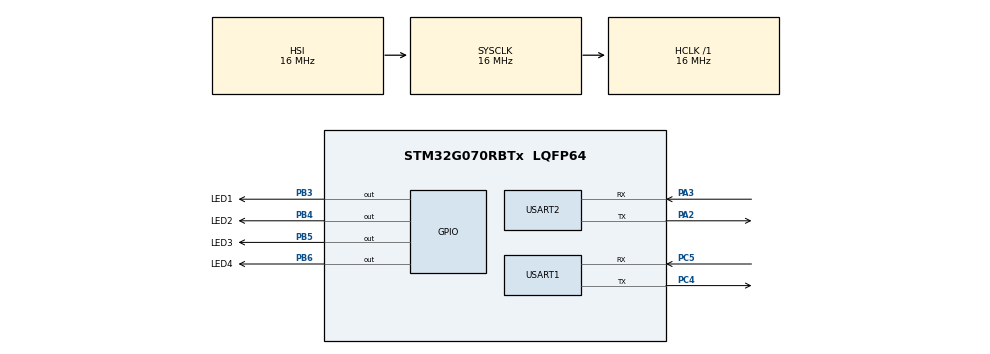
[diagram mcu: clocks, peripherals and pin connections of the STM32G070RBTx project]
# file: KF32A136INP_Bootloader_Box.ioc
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Dma.Request0=USART1_RX
Dma.Request1=USART2_RX
Dma.Request2=USART1_TX
Dma.Request3=USART2_TX
Dma.USART1_RX.0.Direction=DMA_PERIPH_TO_MEMORY
Dma.USART1_RX.0.EventEnable=DISABLE
Dma.USART1_RX.0.Instance=DMA1_Channel1
Dma.USART1_RX.0.MemDataAlignment=DMA_MDATAALIGN_BYTE
Dma.USART1_RX.0.MemInc=DMA_MINC_ENABLE
Dma.USART1_RX.0.Mode=DMA_NORMAL
Dma.USART1_RX.0.PeriphDataAlignment=DMA_PDATAALIGN_BYTE
Dma.USART1_RX.0.PeriphInc=DMA_PINC_DISABLE
Dma.USART1_RX.0.Polarity=HAL_DMAMUX_REQ_GEN_RISING
Dma.USART1_RX.0.Priority=DMA_PRIORITY_LOW
Dma.USART1_RX.0.RequestNumber=1
Dma.USART1_RX.0.SignalID=NONE
Dma.USART1_RX.0.SyncEnable=DISABLE
Dma.USART1_RX.0.SyncPolarity=HAL_DMAMUX_SYNC_NO_EVENT
Dma.USART1_RX.0.SyncRequestNumber=1
Dma.USART1_RX.0.SyncSignalID=NONE
Dma.USART1_TX.2.Direction=DMA_MEMORY_TO_PERIPH
Dma.USART1_TX.2.EventEnable=DISABLE
Dma.USART1_TX.2.Instance=DMA1_Channel3
Dma.USART1_TX.2.MemDataAlignment=DMA_MDATAALIGN_BYTE
Dma.USART1_TX.2.MemInc=DMA_MINC_ENABLE
Dma.USART1_TX.2.Mode=DMA_NORMAL
Dma.USART1_TX.2.PeriphDataAlignment=DMA_PDATAALIGN_BYTE
Dma.USART1_TX.2.PeriphInc=DMA_PINC_DISABLE
Dma.USART1_TX.2.Polarity=HAL_DMAMUX_REQ_GEN_RISING
Dma.USART1_TX.2.Priority=DMA_PRIORITY_LOW
Dma.USART1_TX.2.RequestNumber=1
Dma.USART1_TX.2.SignalID=NONE
Dma.USART1_TX.2.SyncEnable=DISABLE
Dma.USART1_TX.2.SyncPolarity=HAL_DMAMUX_SYNC_NO_EVENT
Dma.USART1_TX.2.SyncRequestNumber=1
Dma.USART1_TX.2.SyncSignalID=NONE
Dma.USART2_RX.1.Direction=DMA_PERIPH_TO_MEMORY
Dma.USART2_RX.1.EventEnable=DISABLE
Dma.USART2_RX.1.Instance=DMA1_Channel2
Dma.USART2_RX.1.MemDataAlignment=DMA_MDATAALIGN_BYTE
Dma.USART2_RX.1.MemInc=DMA_MINC_ENABLE
Dma.USART2_RX.1.Mode=DMA_NORMAL
Dma.USART2_RX.1.PeriphDataAlignment=DMA_PDATAALIGN_BYTE
Dma.USART2_RX.1.PeriphInc=DMA_PINC_DISABLE
Dma.USART2_RX.1.Polarity=HAL_DMAMUX_REQ_GEN_RISING
Dma.USART2_RX.1.Priority=DMA_PRIORITY_LOW
Dma.USART2_RX.1.RequestNumber=1
Dma.USART2_RX.1.SignalID=NONE
Dma.USART2_RX.1.SyncEnable=DISABLE
Dma.USART2_RX.1.SyncPolarity=HAL_DMAMUX_SYNC_NO_EVENT
Dma.USART2_RX.1.SyncRequestNumber=1
Dma.USART2_RX.1.SyncSignalID=NONE
Dma.USART2_TX.3.Direction=DMA_MEMORY_TO_PERIPH
Dma.USART2_TX.3.EventEnable=DISABLE
Dma.USART2_TX.3.Instance=DMA1_Channel4
Dma.USART2_TX.3.MemDataAlignment=DMA_MDATAALIGN_BYTE
Dma.USART2_TX.3.MemInc=DMA_MINC_ENABLE
Dma.USART2_TX.3.Mode=DMA_NORMAL
Dma.USART2_TX.3.PeriphDataAlignment=DMA_PDATAALIGN_BYTE
Dma.USART2_TX.3.PeriphInc=DMA_PINC_DISABLE
Dma.USART2_TX.3.Polarity=HAL_DMAMUX_REQ_GEN_RISING
Dma.USART2_TX.3.Priority=DMA_PRIORITY_LOW
Dma.USART2_TX.3.RequestNumber=1
Dma.USART2_TX.3.SignalID=NONE
Dma.USART2_TX.3.SyncEnable=DISABLE
Dma.USART2_TX.3.SyncPolarity=HAL_DMAMUX_SYNC_NO_EVENT
Dma.USART2_TX.3.SyncRequestNumber=1
Dma.USART2_TX.3.SyncSignalID=NONE
Mcu.Family=STM32G0
Mcu.Name=STM32G070RBTx
Mcu.Package=LQFP64
NVIC.DMA1_Ch4_7_DMAMUX1_OVR_IRQn=true\:0\:0\:false\:false\:true\:false\:true\:true
NVIC.DMA1_Channel1_IRQn=true\:0\:0\:false\:false\:true\:false\:true\:true
NVIC.DMA1_Channel2_3_IRQn=true\:0\:0\:false\:false\:true\:false\:true\:true
NVIC.USART1_IRQn=true\:0\:0\:false\:false\:true\:true\:true\:true
NVIC.USART2_IRQn=true\:0\:0\:false\:false\:true\:true\:true\:true
PA0.Mode=SYS_WakeUp0
PA0.Signal=SYS_WKUP1
PA13.Mode=Serial_Wire
PA13.Signal=SYS_SWDIO
PA14-BOOT0.Mode=Serial_Wire
PA14-BOOT0.Signal=SYS_SWCLK
PA2.Mode=Asynchronous
PA2.Signal=USART2_TX
PA3.Mode=Asynchronous
PA3.Signal=USART2_RX
PB3.GPIO_Label=LED1
PB3.Signal=GPIO_Output
PB4.GPIO_Label=LED2
PB4.Signal=GPIO_Output
PB5.GPIO_Label=LED3
PB5.Signal=GPIO_Output
PB6.GPIO_Label=LED4
PB6.Signal=GPIO_Output
PC4.Mode=Asynchronous
PC4.Signal=USART1_TX
PC5.Mode=Asynchronous
PC5.Signal=USART1_RX
ProjectManager.HeapSize=0x200
ProjectManager.StackSize=0x400
ProjectManager.TargetToolchain=STM32CubeIDE
RCC.AHBFreq_Value=16000000
RCC.CortexFreq_Value=16000000
RCC.EXTERNAL_CLOCK_VALUE=48000
RCC.HCLKFreq_Value=16000000
RCC.HSE_VALUE=8000000
RCC.HSI_VALUE=16000000
RCC.LSE_VALUE=32768
RCC.SYSCLKFreq_VALUE=16000000
RCC.VCOOutputFreq_Value=128000000
USART1.VirtualMode-Asynchronous=VM_ASYNC
USART2.VirtualMode-Asynchronous=VM_ASYNC
VP_SYS_VS_DBSignals.Mode=DisableDeadBatterySignals
board=custom

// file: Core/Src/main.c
/* USER CODE BEGIN Header */
/**
  ******************************************************************************
  * @file           : main.c
  * @brief          : Main program body
  ******************************************************************************
  * @attention
  *
  * Copyright (c) 2023 STMicroelectronics.
  * All rights reserved.
  *
  * This software is licensed under terms that can be found in the LICENSE file
  * in the root directory of this software component.
  * If no LICENSE file comes with this software, it is provided AS-IS.
  *
  ******************************************************************************
  */
/* USER CODE END Header */
#include "main.h"
#include "dma.h"
#include "usart.h"
#include "gpio.h"

/* USER CODE BEGIN Includes */
#include "usart_data.h"
#include <string.h>
/* USER CODE END Includes */

/* USER CODE BEGIN PV */
uint8_t ACK[6] = {0xF0,0xF1,0xF2,0xF3,0xF4,0xF5};
uint8_t NCK[6] = {0xF6,0xF7,0xF8,0xF9,0xFA,0xFB};
uint8_t PC_ACK = 0x06;
uint8_t PC_NCK = 0x15;
/* USER CODE END PV */

void SystemClock_Config(void);
/* USER CODE BEGIN PFP */
uint8_t containsSubarray(uint8_t* longArray, uint8_t longSize, uint8_t* shortArray, uint8_t shortSize);
/* USER CODE END PFP */

int main(void)
{

  /* MCU Configuration--------------------------------------------------------*/

  /* Reset of all peripherals, Initializes the Flash interface and the Systick. */
  HAL_Init();

  /* Configure the system clock */
  SystemClock_Config();

  /* Initialize all configured peripherals */
  MX_GPIO_Init();
  MX_DMA_Init();
  MX_USART1_UART_Init();
  MX_USART2_UART_Init();
  /* USER CODE BEGIN 2 */
    HAL_UARTEx_ReceiveToIdle_DMA(&huart1,usart1_dma_buffer,BUFFER_SIZE);
    HAL_UARTEx_ReceiveToIdle_DMA(&huart2,usart2_dma_buffer,BUFFER_SIZE);
  /* USER CODE END 2 */

  /* Infinite loop */
  while (1)
  {

    if(usart2_recv_end_flag)
    {
        usart2_recv_end_flag = 0;
        if(HAL_OK != HAL_UART_Transmit_DMA(&huart1, usart2_rx_buffer, usart2_rx_len))
        {
            Error_Handler();
        }
        usart2_rx_len = 0;
        HAL_UART_Receive_DMA(&huart2,usart2_dma_buffer,BUFFER_SIZE);
    }
    if(usart1_recv_end_flag)
    {
        usart1_recv_end_flag = 0;
        if(usart1_rx_len < 64)
        {
            if(containsSubarray(usart1_rx_buffer,usart1_rx_len,ACK,6))
            {
                if(HAL_OK != HAL_UART_Transmit_DMA(&huart2, &PC_ACK, 1))
                {
                    Error_Handler();
                }
            }
            if(containsSubarray(usart1_rx_buffer,usart1_rx_len,NCK,6))
            {
                if(HAL_OK != HAL_UART_Transmit_DMA(&huart2, &PC_NCK, 1))
                {
                    Error_Handler();
                }
            }
        }
        usart1_rx_len = 0;
        HAL_UART_Receive_DMA(&huart1,usart1_dma_buffer,BUFFER_SIZE);
    }

  }
}

void SystemClock_Config(void)
{
  RCC_OscInitTypeDef RCC_OscInitStruct = {0};
  RCC_ClkInitTypeDef RCC_ClkInitStruct = {0};

  /** Configure the main internal regulator output voltage
  */
  HAL_PWREx_ControlVoltageScaling(PWR_REGULATOR_VOLTAGE_SCALE1);

  /** Initializes the RCC Oscillators according to the specified parameters
  * in the RCC_OscInitTypeDef structure.
  */
  RCC_OscInitStruct.OscillatorType = RCC_OSCILLATORTYPE_HSI;
  RCC_OscInitStruct.HSIState = RCC_HSI_ON;
  RCC_OscInitStruct.HSIDiv = RCC_HSI_DIV1;
  RCC_OscInitStruct.HSICalibrationValue = RCC_HSICALIBRATION_DEFAULT;
  RCC_OscInitStruct.PLL.PLLState = RCC_PLL_NONE;
  if (HAL_RCC_OscConfig(&RCC_OscInitStruct) != HAL_OK)
  {
    Error_Handler();
  }

  /** Initializes the CPU, AHB and APB buses clocks
  */
  RCC_ClkInitStruct.ClockType = RCC_CLOCKTYPE_HCLK|RCC_CLOCKTYPE_SYSCLK
                              |RCC_CLOCKTYPE_PCLK1;
  RCC_ClkInitStruct.SYSCLKSource = RCC_SYSCLKSOURCE_HSI;
  RCC_ClkInitStruct.AHBCLKDivider = RCC_SYSCLK_DIV1;
  RCC_ClkInitStruct.APB1CLKDivider = RCC_HCLK_DIV1;

  if (HAL_RCC_ClockConfig(&RCC_ClkInitStruct, FLASH_LATENCY_0) != HAL_OK)
  {
    Error_Handler();
  }
}

/* USER CODE BEGIN 4 */
uint8_t containsSubarray(uint8_t* longArray, uint8_t longSize, uint8_t* shortArray, uint8_t shortSize)
{
    for (int i = 0; i <= longSize - shortSize; i++) {
        int j;
        for (j = 0; j < shortSize; j++) {
            if (longArray[i + j] != shortArray[j]) {
                break;
            }
        }
        if (j == shortSize) {
            return 1; // 短数组在长数组中找到匹配
        }
    }
    return 0;
}

void HAL_UARTEx_RxEventCallback(UART_HandleTypeDef *huart, uint16_t Size)
{
    if (huart->Instance == USART1)
    {
        usart1_rx_len = Size;
        memcpy(usart1_rx_buffer,usart1_dma_buffer,BUFFER_SIZE);
        usart1_recv_end_flag = 1;
    }
    if (huart->Instance == USART2)
    {
        usart2_rx_len = Size;
        memcpy(usart2_rx_buffer,usart2_dma_buffer,BUFFER_SIZE);
        usart2_recv_end_flag = 1;
    }
}
/* USER CODE END 4 */

void Error_Handler(void)
{
  __disable_irq();
  while (1)
  {
  }
}
